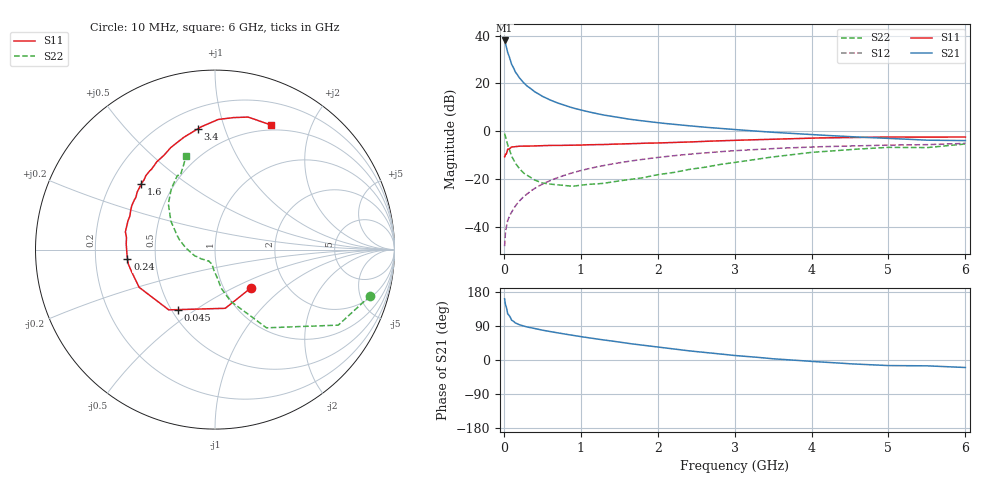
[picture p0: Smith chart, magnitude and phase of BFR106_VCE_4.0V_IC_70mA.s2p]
! Infineon Technologies  Discrete & RF Semiconductors
! BFR106
! VCE =  4.0 V,  IC =  70 mA
! Common Emitter S-Parameters:  Nov 2015
# GHz  S  MA  R  50
!  f  S11  S21  S12  S22
! GHz  MAG  ANG  MAG  ANG  MAG  ANG  MAG  ANG
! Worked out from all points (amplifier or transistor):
!   210 points, 10 MHz to 6 GHz, reference 50 ohm
!   highest |S21| = 38.0 dB at 10 MHz (marker M1)
!   |S21| within 3 dB of that: start of sweep to 34.79 MHz
!   unconditionally stable (mu >= 1): 218.1 MHz to 2.441 GHz
!   at 185 MHz: K = 0.97, MSG = 26.5 dB, |S12| = -29.8 dB
!   at 1.52 GHz: K = 1.05, MAG = 8.0 dB, |S12| = -13.0 dB
!   at 6 GHz: K = 0.99, MSG = 0.6 dB, |S12| = -5.0 dB
!   S11 on the Smith chart (normalised r, x): 10 MHz: 1.34, -0.62; 45 MHz: 0.54, -0.43; 240 MHz: 0.34, -0.05; 1.6 GHz: 0.33, +0.35; 3.4 GHz: 0.33, +0.81; 6 GHz: 0.44, +1.45
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0.01  0.2927 -46.6  79.05 161.6  0.004 80.3  0.9021 -16.6
0.02  0.3321 -80.1  69.96 147.1  0.0074 71.6  0.8055 -31.5
0.045  0.3923 -121.5  47.67 127.7  0.0126 62.7  0.5594 -50.8
0.05  0.4233 -127.5  44.25 121.7  0.0137 61.7  0.5219 -56.6
0.1  0.4721 -153.6  25.34 105.4  0.0205 63.1  0.3024 -73.0
0.15  0.4806 -164.9  17.36 97.6  0.0275 66.9  0.2155 -81.2
0.2  0.4897 -170.5  13.25 93.2  0.0347 70.4  0.1679 -84.2
0.24  0.4906 -173.9  11.13 90.5  0.0405 70.9  0.1426 -87.7
0.26  0.4911 -175.5  10.26 89.3  0.0434 71.3  0.1333 -89.4
0.3  0.4916 -178.2  8.89 87.2  0.049 72.5  0.1211 -92.1
0.4  0.4956 176.4  6.722 82.9  0.0641 73.4  0.0966 -97.6
0.5  0.498 172.1  5.4 78.8  0.0787 72.8  0.0835 -101.6
0.6  0.5091 168.8  4.527 75.0  0.0933 72.3  0.0792 -105.7
0.7  0.5084 164.8  3.906 71.4  0.1079 71.3  0.0766 -110.7
1.02  0.5192 154.6  2.74 61.1  0.1544 67.2  0.0758 -124.4
1.6  0.5506 138.2  1.825 44.3  0.2339 58.6  0.097 -150.4
2.02  0.5724 127.6  1.504 33.7  0.2873 52.1  0.1256 -167.6
3.1  0.6561 103.5  1.061 10.3  0.4027 35.1  0.236 156.9
3.4  0.6792 98.2  0.98 5.1  0.4293 30.6  0.2776 149.2
4.1  0.728 87.3  0.837 -4.9  0.4765 20.2  0.3736 133.4
5.1  0.7598 74.8  0.701 -14.8  0.518 7.8  0.4619 116.5
6  0.7611 65.9  0.641 -19.8  0.5604 -1.8  0.5444 107.1
